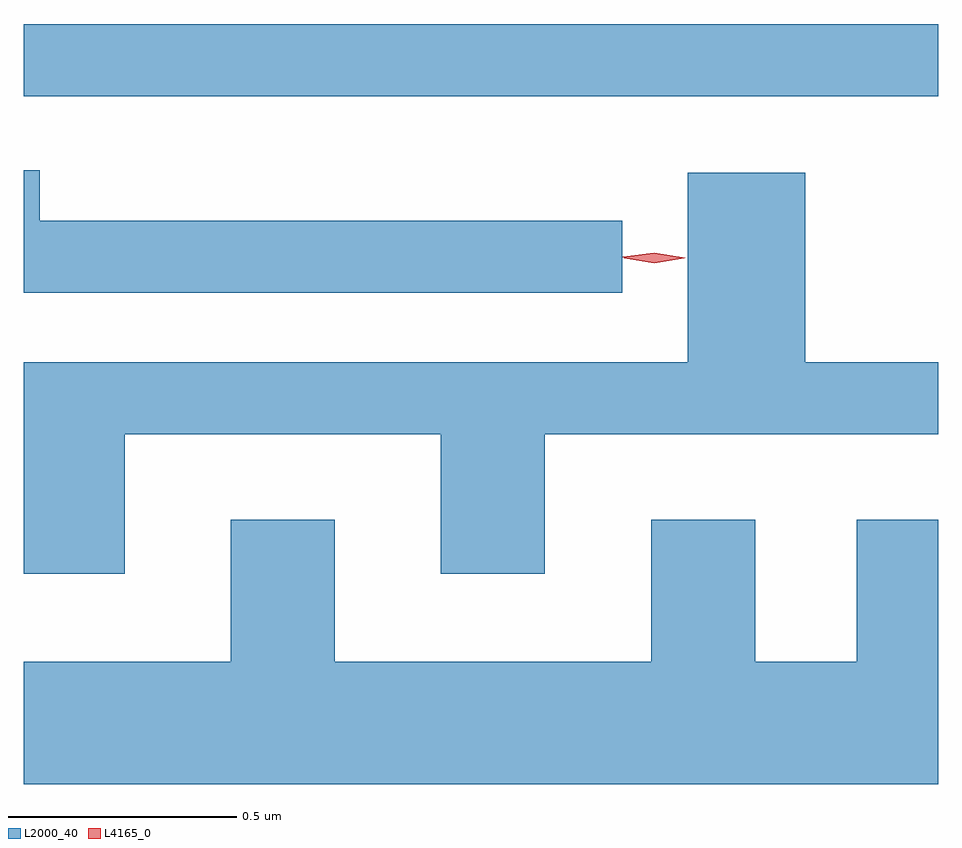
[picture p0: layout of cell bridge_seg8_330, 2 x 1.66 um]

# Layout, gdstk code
import gdstk
lib = gdstk.Library(unit=1e-6, precision=1e-09)
def R(c, l, rs):  # rectangles x0, y0, x1, y1
    for r in rs: c.add(gdstk.rectangle(r[:2], r[2:], *l))
def P(c, l, *ps):  # polygons
    for p in ps: c.add(gdstk.Polygon(p, *l))
L2000_40 = (2000, 40)
L4165_0 = (4165, 0)

bridge_seg8_330 = lib.new_cell('bridge_seg8_330')
R(bridge_seg8_330, L2000_40, [(965.109,1913.401,967.109,1913.559)])
P(bridge_seg8_330, L2000_40, [(966.418,1913.129),(965.144,1913.129),(965.144,1913.239),(965.109,1913.239),(965.109,1912.971),(966.418,1912.971)],
  [(965.329,1912.661),(966.021,1912.661),(966.021,1912.356),(966.249,1912.356),(966.249,1912.661),(967.109,1912.661),(967.109,1912.819),(966.819,1912.819),(966.819,1913.234),(966.561,1913.234),(966.561,1912.819),(965.109,1912.819),(965.109,1912.356),(965.329,1912.356)],
  [(967.109,1912.474),(966.931,1912.474),(966.931,1912.164),(966.709,1912.164),(966.709,1912.474),(966.481,1912.474),(966.481,1912.164),(965.789,1912.164),(965.789,1912.474),(965.561,1912.474),(965.561,1912.164),(965.109,1912.164),(965.109,1911.896),(967.109,1911.896)])
P(bridge_seg8_330, L4165_0, [(966.488,1913.039),(966.419,1913.049),(966.419,1913.049),(966.419,1913.05),(966.488,1913.058),(966.556,1913.048),(966.556,1913.048),(966.556,1913.048)],
  [(966.488,1913.036),(966.423,1913.046),(966.422,1913.047),(966.423,1913.047),(966.488,1913.056),(966.554,1913.047),(966.554,1913.046),(966.554,1913.046)])

lib.write_gds('bridge_seg8_330.gds')
